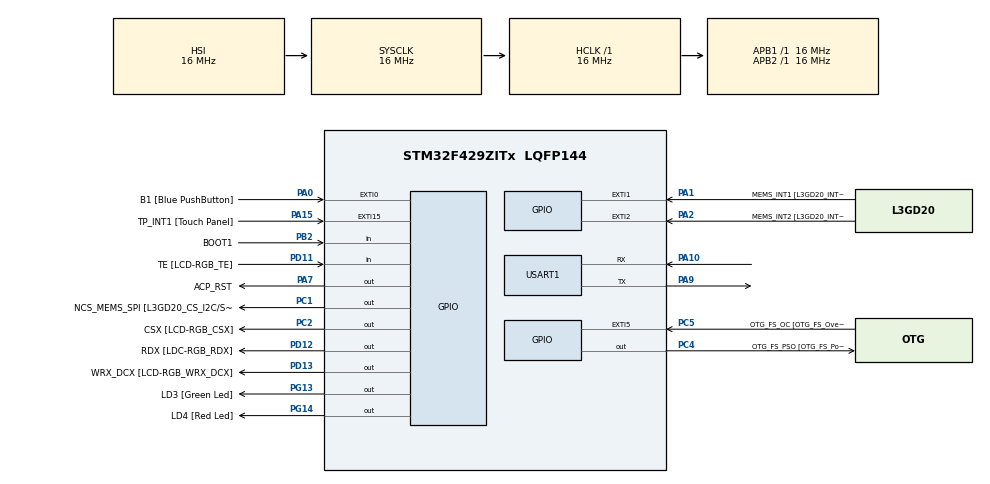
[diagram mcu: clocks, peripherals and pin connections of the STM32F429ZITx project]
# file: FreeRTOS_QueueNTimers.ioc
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Mcu.Family=STM32F4
Mcu.Name=STM32F429ZITx
Mcu.Package=LQFP144
NVIC.PriorityGroup=NVIC_PRIORITYGROUP_4
NVIC.TIM6_DAC_IRQn=true\:0\:0\:false\:false\:true\:false\:true\:true
NVIC.TimeBase=TIM6_DAC_IRQn
NVIC.TimeBaseIP=TIM6
NVIC.USART1_IRQn=true\:6\:0\:true\:false\:true\:true\:true\:true
PA0/WKUP.GPIO_Label=B1 [Blue PushButton]
PA0/WKUP.GPIO_ModeDefaultEXTI=GPIO_MODE_EVT_RISING
PA0/WKUP.GPIO_PuPd=GPIO_NOPULL
PA0/WKUP.Signal=GPXTI0
PA1.GPIO_Label=MEMS_INT1 [L3GD20_INT1]
PA1.GPIO_ModeDefaultEXTI=GPIO_MODE_EVT_RISING
PA1.GPIO_PuPd=GPIO_NOPULL
PA1.Signal=GPXTI1
PA10.Mode=Asynchronous
PA10.Signal=USART1_RX
PA11.GPIO_Label=R4
PA11.GPIO_Mode=GPIO_MODE_AF_PP
PA11.GPIO_PuPd=GPIO_NOPULL
PA11.GPIO_Speed=GPIO_SPEED_FREQ_LOW
PA11.Signal=LTDC_R4
PA12.GPIO_Label=R5
PA12.GPIO_Mode=GPIO_MODE_AF_PP
PA12.GPIO_PuPd=GPIO_NOPULL
PA12.GPIO_Speed=GPIO_SPEED_FREQ_LOW
PA12.Signal=LTDC_R5
PA13.GPIO_Label=SWDIO
PA13.Mode=Serial_Wire
PA13.Signal=SYS_JTMS-SWDIO
PA14.GPIO_Label=SWCLK
PA14.Mode=Serial_Wire
PA14.Signal=SYS_JTCK-SWCLK
PA15.GPIO_Label=TP_INT1 [Touch Panel]
PA15.GPIO_ModeDefaultEXTI=GPIO_MODE_EVT_RISING
PA15.GPIO_PuPd=GPIO_NOPULL
PA15.Signal=GPXTI15
PA2.GPIO_Label=MEMS_INT2 [L3GD20_INT2]
PA2.GPIO_ModeDefaultEXTI=GPIO_MODE_EVT_RISING
PA2.GPIO_PuPd=GPIO_NOPULL
PA2.Signal=GPXTI2
PA3.GPIO_Label=B5
PA3.GPIO_Mode=GPIO_MODE_AF_PP
PA3.GPIO_PuPd=GPIO_NOPULL
PA3.GPIO_Speed=GPIO_SPEED_FREQ_LOW
PA3.Signal=LTDC_B5
PA4.GPIO_Label=VSYNC
PA4.GPIO_Mode=GPIO_MODE_AF_PP
PA4.GPIO_PuPd=GPIO_NOPULL
PA4.GPIO_Speed=GPIO_SPEED_FREQ_LOW
PA4.Signal=LTDC_VSYNC
PA6.GPIO_Label=G2
PA6.GPIO_Mode=GPIO_MODE_AF_PP
PA6.GPIO_PuPd=GPIO_NOPULL
PA6.GPIO_Speed=GPIO_SPEED_FREQ_LOW
PA6.Signal=LTDC_G2
PA7.GPIO_Label=ACP_RST
PA7.GPIO_Mode=GPIO_MODE_OUTPUT_PP
PA7.GPIO_PuPd=GPIO_NOPULL
PA7.GPIO_Speed=GPIO_SPEED_FREQ_LOW
PA7.Signal=GPIO_Output
PA8.GPIO_Label=I2C3_SCL [ACP/RF_SCL]
PA8.GPIO_Mode=GPIO_MODE_AF_OD
PA8.GPIO_PuPd=GPIO_NOPULL
PA8.GPIO_Speed=GPIO_SPEED_FREQ_LOW
PA8.Signal=I2C3_SCL
PA9.Mode=Asynchronous
PA9.Signal=USART1_TX
PB0.GPIO_Label=R3
PB0.GPIO_Mode=GPIO_MODE_AF_PP
PB0.GPIO_PuPd=GPIO_NOPULL
PB0.GPIO_Speed=GPIO_SPEED_FREQ_LOW
PB0.Signal=LTDC_R3
PB1.GPIO_Label=R6
PB1.GPIO_Mode=GPIO_MODE_AF_PP
PB1.GPIO_PuPd=GPIO_NOPULL
PB1.GPIO_Speed=GPIO_SPEED_FREQ_LOW
PB1.Signal=LTDC_R6
PB10.GPIO_Label=G4
PB10.GPIO_Mode=GPIO_MODE_AF_PP
PB10.GPIO_PuPd=GPIO_NOPULL
PB10.GPIO_Speed=GPIO_SPEED_FREQ_LOW
PB10.Signal=LTDC_G4
PB11.GPIO_Label=G5
PB11.GPIO_Mode=GPIO_MODE_AF_PP
PB11.GPIO_PuPd=GPIO_NOPULL
PB11.GPIO_Speed=GPIO_SPEED_FREQ_LOW
PB11.Signal=LTDC_G5
PB12.GPIO_Label=OTG_HS_ID
PB12.GPIO_Mode=GPIO_MODE_AF_PP
PB12.GPIO_PuPd=GPIO_NOPULL
PB12.GPIO_Speed=GPIO_SPEED_FREQ_LOW
PB12.Signal=USB_OTG_HS_ID
PB13.GPIO_Label=VBUS_HS
PB13.GPIO_Mode=GPIO_MODE_INPUT
PB13.GPIO_PuPd=GPIO_NOPULL
PB13.Signal=USB_OTG_HS_VBUS
PB14.GPIO_Label=OTG_HS_DM
PB14.GPIO_Mode=GPIO_MODE_AF_PP
PB14.GPIO_PuPd=GPIO_NOPULL
PB14.GPIO_Speed=GPIO_SPEED_FREQ_LOW
PB14.Signal=USB_OTG_HS_DM
PB15.GPIO_Label=OTG_HS_DP
PB15.GPIO_Mode=GPIO_MODE_AF_PP
PB15.GPIO_PuPd=GPIO_NOPULL
PB15.GPIO_Speed=GPIO_SPEED_FREQ_LOW
PB15.Signal=USB_OTG_HS_DP
PB2/BOOT1.GPIO_Label=BOOT1
PB2/BOOT1.GPIO_Mode=GPIO_MODE_INPUT
PB2/BOOT1.GPIO_PuPd=GPIO_NOPULL
PB2/BOOT1.Signal=GPIO_Input
PB5.GPIO_Label=SDCKE1
PB5.GPIO_Mode=GPIO_MODE_AF_PP
PB5.GPIO_PuPd=GPIO_NOPULL
PB5.GPIO_Speed=GPIO_SPEED_FREQ_VERY_HIGH
PB5.Signal=FMC_SDCKE1
PB6.GPIO_Label=SDNE1 [SDRAM_CS]
PB6.GPIO_Mode=GPIO_MODE_AF_PP
PB6.GPIO_PuPd=GPIO_NOPULL
PB6.GPIO_Speed=GPIO_SPEED_FREQ_VERY_HIGH
PB6.Signal=FMC_SDNE1
PB8.GPIO_Label=B6
PB8.GPIO_Mode=GPIO_MODE_AF_PP
PB8.GPIO_PuPd=GPIO_NOPULL
PB8.GPIO_Speed=GPIO_SPEED_FREQ_LOW
PB8.Signal=LTDC_B6
PB9.GPIO_Label=B7
PB9.GPIO_Mode=GPIO_MODE_AF_PP
PB9.GPIO_PuPd=GPIO_NOPULL
PB9.GPIO_Speed=GPIO_SPEED_FREQ_LOW
PB9.Signal=LTDC_B7
PC0.GPIO_Label=SDNWE
PC0.GPIO_Mode=GPIO_MODE_AF_PP
PC0.GPIO_PuPd=GPIO_NOPULL
PC0.GPIO_Speed=GPIO_SPEED_FREQ_VERY_HIGH
PC0.Signal=FMC_SDNWE
PC1.GPIO_Label=NCS_MEMS_SPI [L3GD20_CS_I2C/SPI]
PC1.GPIO_Mode=GPIO_MODE_OUTPUT_PP
PC1.GPIO_PuPd=GPIO_NOPULL
PC1.GPIO_Speed=GPIO_SPEED_FREQ_LOW
PC1.Signal=GPIO_Output
PC10.GPIO_Label=R2
PC10.GPIO_Mode=GPIO_MODE_AF_PP
PC10.GPIO_PuPd=GPIO_NOPULL
PC10.GPIO_Speed=GPIO_SPEED_FREQ_LOW
PC10.Signal=LTDC_R2
PC14/OSC32_IN.GPIO_Label=PC14-OSC32_IN
PC14/OSC32_IN.Signal=RCC_OSC32_IN
PC15/OSC32_OUT.GPIO_Label=PC15-OSC32_OUT
PC15/OSC32_OUT.Signal=RCC_OSC32_OUT
PC2.GPIO_Label=CSX [LCD-RGB_CSX]
PC2.GPIO_Mode=GPIO_MODE_OUTPUT_PP
PC2.GPIO_PuPd=GPIO_NOPULL
PC2.GPIO_Speed=GPIO_SPEED_FREQ_LOW
PC2.Signal=GPIO_Output
PC4.GPIO_Label=OTG_FS_PSO [OTG_FS_PowerSwitchOn]
PC4.GPIO_Mode=GPIO_MODE_OUTPUT_PP
PC4.GPIO_PuPd=GPIO_NOPULL
PC4.GPIO_Speed=GPIO_SPEED_FREQ_LOW
PC4.Signal=GPIO_Output
PC5.GPIO_Label=OTG_FS_OC [OTG_FS_OverCurrent]
PC5.GPIO_ModeDefaultEXTI=GPIO_MODE_EVT_RISING
PC5.Signal=GPXTI5
PC6.GPIO_Label=HSYNC
PC6.GPIO_Mode=GPIO_MODE_AF_PP
PC6.GPIO_PuPd=GPIO_NOPULL
PC6.GPIO_Speed=GPIO_SPEED_FREQ_LOW
PC6.Signal=LTDC_HSYNC
PC7.GPIO_Label=G6
PC7.GPIO_Mode=GPIO_MODE_AF_PP
PC7.GPIO_PuPd=GPIO_NOPULL
PC7.GPIO_Speed=GPIO_SPEED_FREQ_LOW
PC7.Signal=LTDC_G6
PC9.GPIO_Label=I2C3_SDA [ACP/RF_SDA]
PC9.GPIO_Mode=GPIO_MODE_AF_OD
PC9.GPIO_PuPd=GPIO_NOPULL
PC9.GPIO_Speed=GPIO_SPEED_FREQ_LOW
PC9.Signal=I2C3_SDA
PD0.GPIO_Label=D2
PD0.GPIO_Mode=GPIO_MODE_AF_PP
PD0.GPIO_PuPd=GPIO_NOPULL
PD0.GPIO_Speed=GPIO_SPEED_FREQ_VERY_HIGH
PD0.Signal=FMC_D2_DA2
PD1.GPIO_Label=D3
PD1.GPIO_Mode=GPIO_MODE_AF_PP
PD1.GPIO_PuPd=GPIO_NOPULL
PD1.GPIO_Speed=GPIO_SPEED_FREQ_VERY_HIGH
PD1.Signal=FMC_D3_DA3
PD10.GPIO_Label=D15
PD10.GPIO_Mode=GPIO_MODE_AF_PP
PD10.GPIO_PuPd=GPIO_NOPULL
PD10.GPIO_Speed=GPIO_SPEED_FREQ_VERY_HIGH
PD10.Signal=FMC_D15_DA15
PD11.GPIO_Label=TE [LCD-RGB_TE]
PD11.GPIO_Mode=GPIO_MODE_INPUT
PD11.GPIO_PuPd=GPIO_NOPULL
PD11.Signal=GPIO_Input
PD12.GPIO_Label=RDX [LDC-RGB_RDX]
PD12.GPIO_Mode=GPIO_MODE_OUTPUT_PP
PD12.GPIO_PuPd=GPIO_NOPULL
PD12.GPIO_Speed=GPIO_SPEED_FREQ_LOW
PD12.Signal=GPIO_Output
PD13.GPIO_Label=WRX_DCX [LCD-RGB_WRX_DCX]
PD13.GPIO_Mode=GPIO_MODE_OUTPUT_PP
PD13.GPIO_PuPd=GPIO_NOPULL
PD13.GPIO_Speed=GPIO_SPEED_FREQ_LOW
PD13.Signal=GPIO_Output
PD14.GPIO_Label=D0
PD14.GPIO_Mode=GPIO_MODE_AF_PP
PD14.GPIO_PuPd=GPIO_NOPULL
PD14.GPIO_Speed=GPIO_SPEED_FREQ_VERY_HIGH
PD14.Signal=FMC_D0_DA0
PD15.GPIO_Label=D1
PD15.GPIO_Mode=GPIO_MODE_AF_PP
PD15.GPIO_PuPd=GPIO_NOPULL
PD15.GPIO_Speed=GPIO_SPEED_FREQ_VERY_HIGH
PD15.Signal=FMC_D1_DA1
PD3.GPIO_Label=G7
PD3.GPIO_Mode=GPIO_MODE_AF_PP
PD3.GPIO_PuPd=GPIO_NOPULL
PD3.GPIO_Speed=GPIO_SPEED_FREQ_LOW
PD3.Signal=LTDC_G7
PD6.GPIO_Label=B2
PD6.GPIO_Mode=GPIO_MODE_AF_PP
PD6.GPIO_PuPd=GPIO_NOPULL
PD6.GPIO_Speed=GPIO_SPEED_FREQ_LOW
PD6.Signal=LTDC_B2
PD8.GPIO_Label=D13
PD8.GPIO_Mode=GPIO_MODE_AF_PP
PD8.GPIO_PuPd=GPIO_NOPULL
PD8.GPIO_Speed=GPIO_SPEED_FREQ_VERY_HIGH
PD8.Signal=FMC_D13_DA13
PD9.GPIO_Label=D14
PD9.GPIO_Mode=GPIO_MODE_AF_PP
PD9.GPIO_PuPd=GPIO_NOPULL
PD9.GPIO_Speed=GPIO_SPEED_FREQ_VERY_HIGH
PD9.Signal=FMC_D14_DA14
PE0.GPIO_Label=NBL0 [SDRAM_LDQM]
PE0.GPIO_Mode=GPIO_MODE_AF_PP
PE0.GPIO_PuPd=GPIO_NOPULL
PE0.GPIO_Speed=GPIO_SPEED_FREQ_VERY_HIGH
PE0.Signal=FMC_NBL0
PE1.GPIO_Label=NBL1 [SDRAM_UDQM]
PE1.GPIO_Mode=GPIO_MODE_AF_PP
PE1.GPIO_PuPd=GPIO_NOPULL
PE1.GPIO_Speed=GPIO_SPEED_FREQ_VERY_HIGH
PE1.Signal=FMC_NBL1
PE10.GPIO_Label=D7
PE10.GPIO_Mode=GPIO_MODE_AF_PP
PE10.GPIO_PuPd=GPIO_NOPULL
PE10.GPIO_Speed=GPIO_SPEED_FREQ_VERY_HIGH
PE10.Signal=FMC_D7_DA7
PE11.GPIO_Label=D8
PE11.GPIO_Mode=GPIO_MODE_AF_PP
PE11.GPIO_PuPd=GPIO_NOPULL
PE11.GPIO_Speed=GPIO_SPEED_FREQ_VERY_HIGH
PE11.Signal=FMC_D8_DA8
PE12.GPIO_Label=D9
PE12.GPIO_Mode=GPIO_MODE_AF_PP
PE12.GPIO_PuPd=GPIO_NOPULL
PE12.GPIO_Speed=GPIO_SPEED_FREQ_VERY_HIGH
PE12.Signal=FMC_D9_DA9
PE13.GPIO_Label=D10
PE13.GPIO_Mode=GPIO_MODE_AF_PP
PE13.GPIO_PuPd=GPIO_NOPULL
PE13.GPIO_Speed=GPIO_SPEED_FREQ_VERY_HIGH
PE13.Signal=FMC_D10_DA10
PE14.GPIO_Label=D11
PE14.GPIO_Mode=GPIO_MODE_AF_PP
PE14.GPIO_PuPd=GPIO_NOPULL
PE14.GPIO_Speed=GPIO_SPEED_FREQ_VERY_HIGH
PE14.Signal=FMC_D11_DA11
PE15.GPIO_Label=D12
PE15.GPIO_Mode=GPIO_MODE_AF_PP
PE15.GPIO_PuPd=GPIO_NOPULL
PE15.GPIO_Speed=GPIO_SPEED_FREQ_VERY_HIGH
PE15.Signal=FMC_D12_DA12
PE7.GPIO_Label=D4
PE7.GPIO_Mode=GPIO_MODE_AF_PP
PE7.GPIO_PuPd=GPIO_NOPULL
PE7.GPIO_Speed=GPIO_SPEED_FREQ_VERY_HIGH
PE7.Signal=FMC_D4_DA4
PE8.GPIO_Label=D5
PE8.GPIO_Mode=GPIO_MODE_AF_PP
PE8.GPIO_PuPd=GPIO_NOPULL
PE8.GPIO_Speed=GPIO_SPEED_FREQ_VERY_HIGH
PE8.Signal=FMC_D5_DA5
PE9.GPIO_Label=D6
PE9.GPIO_Mode=GPIO_MODE_AF_PP
PE9.GPIO_PuPd=GPIO_NOPULL
PE9.GPIO_Speed=GPIO_SPEED_FREQ_VERY_HIGH
PE9.Signal=FMC_D6_DA6
PF0.GPIO_Label=A0
PF0.GPIO_Mode=GPIO_MODE_AF_PP
PF0.GPIO_PuPd=GPIO_NOPULL
PF0.GPIO_Speed=GPIO_SPEED_FREQ_VERY_HIGH
PF0.Signal=FMC_A0
PF1.GPIO_Label=A1
PF1.GPIO_Mode=GPIO_MODE_AF_PP
PF1.GPIO_PuPd=GPIO_NOPULL
PF1.GPIO_Speed=GPIO_SPEED_FREQ_VERY_HIGH
PF1.Signal=FMC_A1
PF10.GPIO_Label=ENABLE [LCD-RGB_ENABLE]
PF10.GPIO_Mode=GPIO_MODE_AF_PP
PF10.GPIO_PuPd=GPIO_NOPULL
PF10.GPIO_Speed=GPIO_SPEED_FREQ_LOW
PF10.Signal=LTDC_DE
PF11.GPIO_Label=SDNRAS
PF11.GPIO_Mode=GPIO_MODE_AF_PP
PF11.GPIO_PuPd=GPIO_NOPULL
PF11.GPIO_Speed=GPIO_SPEED_FREQ_VERY_HIGH
PF11.Signal=FMC_SDNRAS
PF12.GPIO_Label=A6
PF12.GPIO_Mode=GPIO_MODE_AF_PP
PF12.GPIO_PuPd=GPIO_NOPULL
PF12.GPIO_Speed=GPIO_SPEED_FREQ_VERY_HIGH
PF12.Signal=FMC_A6
PF13.GPIO_Label=A7
PF13.GPIO_Mode=GPIO_MODE_AF_PP
PF13.GPIO_PuPd=GPIO_NOPULL
PF13.GPIO_Speed=GPIO_SPEED_FREQ_VERY_HIGH
PF13.Signal=FMC_A7
PF14.GPIO_Label=A8
PF14.GPIO_Mode=GPIO_MODE_AF_PP
PF14.GPIO_PuPd=GPIO_NOPULL
PF14.GPIO_Speed=GPIO_SPEED_FREQ_VERY_HIGH
PF14.Signal=FMC_A8
PF15.GPIO_Label=A9
PF15.GPIO_Mode=GPIO_MODE_AF_PP
PF15.GPIO_PuPd=GPIO_NOPULL
PF15.GPIO_Speed=GPIO_SPEED_FREQ_VERY_HIGH
PF15.Signal=FMC_A9
PF2.GPIO_Label=A2
PF2.GPIO_Mode=GPIO_MODE_AF_PP
PF2.GPIO_PuPd=GPIO_NOPULL
PF2.GPIO_Speed=GPIO_SPEED_FREQ_VERY_HIGH
PF2.Signal=FMC_A2
PF3.GPIO_Label=A3
PF3.GPIO_Mode=GPIO_MODE_AF_PP
PF3.GPIO_PuPd=GPIO_NOPULL
PF3.GPIO_Speed=GPIO_SPEED_FREQ_VERY_HIGH
PF3.Signal=FMC_A3
PF4.GPIO_Label=A4
PF4.GPIO_Mode=GPIO_MODE_AF_PP
PF4.GPIO_PuPd=GPIO_NOPULL
PF4.GPIO_Speed=GPIO_SPEED_FREQ_VERY_HIGH
PF4.Signal=FMC_A4
PF5.GPIO_Label=A5
PF5.GPIO_Mode=GPIO_MODE_AF_PP
PF5.GPIO_PuPd=GPIO_NOPULL
PF5.GPIO_Speed=GPIO_SPEED_FREQ_VERY_HIGH
PF5.Signal=FMC_A5
PF7.GPIO_Label=SPI5_SCK [L3GD20_SCL/SPC]
PF7.GPIO_Mode=GPIO_MODE_AF_PP
PF7.GPIO_PuPd=GPIO_NOPULL
PF7.GPIO_Speed=GPIO_SPEED_FREQ_LOW
PF7.Signal=SPI5_SCK
PF8.GPIO_Label=SPI5_MISO [L3GD20_SDO]
PF8.GPIO_Mode=GPIO_MODE_AF_PP
PF8.GPIO_PuPd=GPIO_NOPULL
PF8.GPIO_Speed=GPIO_SPEED_FREQ_LOW
PF8.Signal=SPI5_MISO
PF9.GPIO_Label=SPI5_MOSI [L3GD20_SDA/SDI/SDO]
PF9.GPIO_Mode=GPIO_MODE_AF_PP
PF9.GPIO_PuPd=GPIO_NOPULL
PF9.GPIO_Speed=GPIO_SPEED_FREQ_LOW
PF9.Signal=SPI5_MOSI
PG0.GPIO_Label=A10
PG0.GPIO_Mode=GPIO_MODE_AF_PP
PG0.GPIO_PuPd=GPIO_NOPULL
PG0.GPIO_Speed=GPIO_SPEED_FREQ_VERY_HIGH
PG0.Signal=FMC_A10
PG1.GPIO_Label=A11
PG1.GPIO_Mode=GPIO_MODE_AF_PP
PG1.GPIO_PuPd=GPIO_NOPULL
PG1.GPIO_Speed=GPIO_SPEED_FREQ_VERY_HIGH
PG1.Signal=FMC_A11
PG10.GPIO_Label=G3
PG10.GPIO_Mode=GPIO_MODE_AF_PP
PG10.GPIO_PuPd=GPIO_NOPULL
PG10.GPIO_Speed=GPIO_SPEED_FREQ_LOW
PG10.Signal=LTDC_G3
PG11.GPIO_Label=B3
PG11.GPIO_Mode=GPIO_MODE_AF_PP
PG11.GPIO_PuPd=GPIO_NOPULL
PG11.GPIO_Speed=GPIO_SPEED_FREQ_LOW
PG11.Signal=LTDC_B3
PG12.GPIO_Label=B4
PG12.GPIO_Mode=GPIO_MODE_AF_PP
PG12.GPIO_PuPd=GPIO_NOPULL
PG12.GPIO_Speed=GPIO_SPEED_FREQ_LOW
PG12.Signal=LTDC_B4
PG13.GPIO_Label=LD3 [Green Led]
PG13.GPIO_Mode=GPIO_MODE_OUTPUT_PP
PG13.GPIO_PuPd=GPIO_NOPULL
PG13.GPIO_Speed=GPIO_SPEED_FREQ_LOW
PG13.Signal=GPIO_Output
PG14.GPIO_Label=LD4 [Red Led]
PG14.GPIO_Mode=GPIO_MODE_OUTPUT_PP
PG14.GPIO_PuPd=GPIO_NOPULL
PG14.GPIO_Speed=GPIO_SPEED_FREQ_LOW
PG14.Signal=GPIO_Output
PG15.GPIO_Label=SDNCAS
PG15.GPIO_Mode=GPIO_MODE_AF_PP
PG15.GPIO_PuPd=GPIO_NOPULL
PG15.GPIO_Speed=GPIO_SPEED_FREQ_VERY_HIGH
PG15.Signal=FMC_SDNCAS
PG4.GPIO_Label=BA0
PG4.GPIO_Mode=GPIO_MODE_AF_PP
PG4.GPIO_PuPd=GPIO_NOPULL
PG4.GPIO_Speed=GPIO_SPEED_FREQ_VERY_HIGH
PG4.Signal=FMC_A14_BA0
PG5.GPIO_Label=BA1
PG5.GPIO_Mode=GPIO_MODE_AF_PP
PG5.GPIO_PuPd=GPIO_NOPULL
PG5.GPIO_Speed=GPIO_SPEED_FREQ_VERY_HIGH
PG5.Signal=FMC_A15_BA1
PG6.GPIO_Label=R7
PG6.GPIO_Mode=GPIO_MODE_AF_PP
PG6.GPIO_PuPd=GPIO_NOPULL
PG6.GPIO_Speed=GPIO_SPEED_FREQ_LOW
PG6.Signal=LTDC_R7
PG7.GPIO_Label=DOTCLK [LCT-RGB_DOTCLK]
PG7.GPIO_Mode=GPIO_MODE_AF_PP
PG7.GPIO_PuPd=GPIO_NOPULL
PG7.GPIO_Speed=GPIO_SPEED_FREQ_LOW
PG7.Signal=LTDC_CLK
PG8.GPIO_Label=SDCLK
PG8.GPIO_Mode=GPIO_MODE_AF_PP
PG8.GPIO_PuPd=GPIO_NOPULL
PG8.GPIO_Speed=GPIO_SPEED_FREQ_VERY_HIGH
PG8.Signal=FMC_SDCLK
PH0/OSC_IN.GPIO_Label=PH0-OSC_IN
PH0/OSC_IN.Signal=RCC_OSC_IN
PH1/OSC_OUT.GPIO_Label=PH1-OSC_OUT
PH1/OSC_OUT.Signal=RCC_OSC_OUT
ProjectManager.HeapSize=0x200
ProjectManager.StackSize=0x400
ProjectManager.TargetToolchain=STM32CubeIDE
RCC.48MHZClocksFreq_Value=14285714.285714285
RCC.AHBFreq_Value=16000000
RCC.APB1Freq_Value=16000000
RCC.APB1TimFreq_Value=16000000
RCC.APB2Freq_Value=16000000
RCC.APB2TimFreq_Value=16000000
RCC.CortexFreq_Value=16000000
RCC.HCLKFreq_Value=16000000
RCC.HSE_VALUE=8000000
RCC.HSI_VALUE=16000000
RCC.LSE_VALUE=32768
RCC.PLLM=8
RCC.PLLN=50
RCC.PLLP=RCC_PLLP_DIV4
RCC.PLLQ=7
RCC.SYSCLKFreq_VALUE=16000000
RCC.VCOOutputFreq_Value=100000000
RTC.HourFormat=RTC_HOURFORMAT_12
SH.FMC_A0.0=FMC_A0
SH.FMC_A1.0=FMC_A1
SH.FMC_A10.0=FMC_A10
SH.FMC_A11.0=FMC_A11
SH.FMC_A14_BA0.0=FMC_BA0
SH.FMC_A15_BA1.0=FMC_BA1
SH.FMC_A2.0=FMC_A2
SH.FMC_A3.0=FMC_A3
SH.FMC_A4.0=FMC_A4
SH.FMC_A5.0=FMC_A5
SH.FMC_A6.0=FMC_A6
SH.FMC_A7.0=FMC_A7
SH.FMC_A8.0=FMC_A8
SH.FMC_A9.0=FMC_A9
SH.FMC_D0_DA0.0=FMC_D0
SH.FMC_D10_DA10.0=FMC_D10
SH.FMC_D11_DA11.0=FMC_D11
SH.FMC_D12_DA12.0=FMC_D12
SH.FMC_D13_DA13.0=FMC_D13
SH.FMC_D14_DA14.0=FMC_D14
SH.FMC_D15_DA15.0=FMC_D15
SH.FMC_D1_DA1.0=FMC_D1
SH.FMC_D2_DA2.0=FMC_D2
SH.FMC_D3_DA3.0=FMC_D3
SH.FMC_D4_DA4.0=FMC_D4
SH.FMC_D5_DA5.0=FMC_D5
SH.FMC_D6_DA6.0=FMC_D6
SH.FMC_D7_DA7.0=FMC_D7
SH.FMC_D8_DA8.0=FMC_D8
SH.FMC_D9_DA9.0=FMC_D9
SH.FMC_NBL0.0=FMC_NBL0
SH.FMC_NBL1.0=FMC_NBL1
SH.FMC_SDCLK.0=FMC_SDCLK
SH.FMC_SDNCAS.0=FMC_SDNCAS
SH.FMC_SDNRAS.0=FMC_SDNRAS
SH.FMC_SDNWE.0=FMC_SDNWE
USART1.VirtualMode=VM_ASYNC
VP_RTC_VS_RTC_Activate.Mode=RTC_Enabled
VP_SYS_VS_tim6.Mode=TIM6
board=STM32F429I-DISC1

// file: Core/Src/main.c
/* USER CODE BEGIN Header */
/**
  ******************************************************************************
  * @file           : main.c
  * @brief          : Main program body
  ******************************************************************************
  * @attention
  *
  * Copyright (c) 2022 STMicroelectronics.
  * All rights reserved.
  *
  * This software is licensed under terms that can be found in the LICENSE file
  * in the root directory of this software component.
  * If no LICENSE file comes with this software, it is provided AS-IS.
  *
  ******************************************************************************
  */
/* USER CODE END Header */
#include "main.h"

/* USER CODE BEGIN Includes */
#include "FreeRTOS.h"
#include "task.h"
#include "queue.h"
#include "timers.h"
#include <stdio.h>
#include <string.h>
#include "SEGGER_SYSVIEW.h"
/* USER CODE END Includes */

/* USER CODE BEGIN PTD */

/* Application States */
typedef enum _Application_States_e
{
  MAIN_MENU = 0,
  LED_EFFECT,
  RTC_MENU,
  RTC_TIME_CONFIG,
  RTC_DATE_CONFIG,
  RTC_REPORT
} Application_States_e;

typedef struct _Command_s
{
  uint8_t payload[8];
  uint8_t len;
} Command_s;

/* USER CODE END PTD */

/* USER CODE BEGIN PM */
#define DWT_CTRL            (*(volatile uint32_t*)0xE0001000u)
/* USER CODE END PM */

 RTC_HandleTypeDef hrtc;

UART_HandleTypeDef huart1;

void SystemClock_Config(void);
static void MX_GPIO_Init(void);
static void MX_RTC_Init(void);
static void MX_USART1_UART_Init(void);
/* USER CODE BEGIN PFP */
static void Command_Processor( Command_s *s_cmd );
static int8_t Command_Extractor( Command_s *s_cmd );
static void Led_Effect( uint8_t option );
static void Led_Effect_Callback( TimerHandle_t xTimer );
static void RTC_ReportCallback( TimerHandle_t xRTC );
static void Led_Effect1( void );
static void Led_Effect2( void );
static void Led_Effect3( void );
static void RTC_ConfigureTime( RTC_TimeTypeDef *time );
static void RTC_ConfigureDate( RTC_DateTypeDef *date );
static void RTC_ShowDateTime( void );
static uint8_t Validate_RTC_Information( RTC_TimeTypeDef *time, RTC_DateTypeDef *date );
static uint8_t Convert_To_Number( uint8_t *data, uint8_t len );
/* USER CODE END PFP */

/* USER CODE BEGIN 0 */
TaskHandle_t menu_task_handle;
TaskHandle_t command_task_handle;
TaskHandle_t print_task_handle;
TaskHandle_t led_task_handle;
TaskHandle_t rtc_task_handle;

/* We need two queues one for inputs from UART and another for printing */
QueueHandle_t q_data;
QueueHandle_t q_print;

uint8_t uart_data;

Application_States_e e_state = MAIN_MENU;
/* Software Timer for Led Effects */
TimerHandle_t led_effect_timer[3];
/* Software Timer for RTC Reporting */
TimerHandle_t rtc_timer;
const char * msg_invalid = "Entered Value is Invalid\n";
/* USER CODE END 0 */

int main(void)
{
  /* USER CODE BEGIN 1 */
  BaseType_t status;
  /* USER CODE END 1 */

  /* MCU Configuration--------------------------------------------------------*/

  /* Reset of all peripherals, Initializes the Flash interface and the Systick. */
  HAL_Init();

  /* Configure the system clock */
  SystemClock_Config();

  /* Initialize all configured peripherals */
  MX_GPIO_Init();
  MX_RTC_Init();
  MX_USART1_UART_Init();
  /* USER CODE BEGIN 2 */

  /* Enable the Cycle Counter i.e. CYCCNT */
  DWT_CTRL |= (0x01 << 0);

  /* SystemView should be configured and start before using any FreeRTOS API's */
  SEGGER_SYSVIEW_Conf();
  SEGGER_SYSVIEW_Start();

  status = xTaskCreate(Menu_TaskHandler, "Menu Task", 200, NULL, 2, &menu_task_handle);
  configASSERT(status == pdPASS);

  status = xTaskCreate(Command_TaskHandler, "CMD Task", 200, NULL, 2, &command_task_handle );
  configASSERT(status == pdPASS);

  status = xTaskCreate(Print_TaskHandler, "Print Task", 200, NULL, 2, &print_task_handle );
  configASSERT(status == pdPASS);

  status = xTaskCreate(LED_TaskHandler, "LED Task", 200, NULL, 2, &led_task_handle );
  configASSERT(status == pdPASS);

  status = xTaskCreate(RTC_TaskHandler, "RTC Task", 200, NULL, 2, &rtc_task_handle );
  configASSERT(status == pdPASS);

  /* Create Queues */
  q_data = xQueueCreate( 10, sizeof(char) );
  configASSERT(q_data != NULL);
  q_print = xQueueCreate(10, sizeof(size_t) );

  /* Configure the UART to receive 1 byte of over interrupt */
  HAL_UART_Receive_IT(&huart1, &uart_data, 1);

  /* Create Software Timers for Led Effects */
  for( uint8_t i=0; i<3; i++ )
  {
    led_effect_timer[i] = xTimerCreate( "led_timer", pdMS_TO_TICKS(500), pdTRUE,\
                                        (void*)(i+1), Led_Effect_Callback );
  }

  /* Create Software Timer for RTC reporting */
  rtc_timer = xTimerCreate( "RTC Timer", pdMS_TO_TICKS(1000), pdTRUE, NULL, \
                            RTC_ReportCallback );

  /* Start the Scheduler */
  vTaskStartScheduler();
  /* control shouldn't come here, if it is coming then there is some problem */
  /* this failure can happen due to insufficient memory in heap */
  /* USER CODE END 2 */

  /* Infinite loop */
  while (1)
  {

  }
}

void SystemClock_Config(void)
{
  RCC_OscInitTypeDef RCC_OscInitStruct = {0};
  RCC_ClkInitTypeDef RCC_ClkInitStruct = {0};

  /** Configure the main internal regulator output voltage
  */
  __HAL_RCC_PWR_CLK_ENABLE();
  __HAL_PWR_VOLTAGESCALING_CONFIG(PWR_REGULATOR_VOLTAGE_SCALE3);

  /** Initializes the RCC Oscillators according to the specified parameters
  * in the RCC_OscInitTypeDef structure.
  */
  RCC_OscInitStruct.OscillatorType = RCC_OSCILLATORTYPE_HSI|RCC_OSCILLATORTYPE_LSI;
  RCC_OscInitStruct.HSIState = RCC_HSI_ON;
  RCC_OscInitStruct.HSICalibrationValue = RCC_HSICALIBRATION_DEFAULT;
  RCC_OscInitStruct.LSIState = RCC_LSI_ON;
  RCC_OscInitStruct.PLL.PLLState = RCC_PLL_NONE;
  if (HAL_RCC_OscConfig(&RCC_OscInitStruct) != HAL_OK)
  {
    Error_Handler();
  }

  /** Initializes the CPU, AHB and APB buses clocks
  */
  RCC_ClkInitStruct.ClockType = RCC_CLOCKTYPE_HCLK|RCC_CLOCKTYPE_SYSCLK
                              |RCC_CLOCKTYPE_PCLK1|RCC_CLOCKTYPE_PCLK2;
  RCC_ClkInitStruct.SYSCLKSource = RCC_SYSCLKSOURCE_HSI;
  RCC_ClkInitStruct.AHBCLKDivider = RCC_SYSCLK_DIV1;
  RCC_ClkInitStruct.APB1CLKDivider = RCC_HCLK_DIV1;
  RCC_ClkInitStruct.APB2CLKDivider = RCC_HCLK_DIV1;

  if (HAL_RCC_ClockConfig(&RCC_ClkInitStruct, FLASH_LATENCY_0) != HAL_OK)
  {
    Error_Handler();
  }
}

static void MX_RTC_Init(void)
{

  /** Initialize RTC Only
  */
  hrtc.Instance = RTC;
  hrtc.Init.HourFormat = RTC_HOURFORMAT_12;
  hrtc.Init.AsynchPrediv = 127;
  hrtc.Init.SynchPrediv = 255;
  hrtc.Init.OutPut = RTC_OUTPUT_DISABLE;
  hrtc.Init.OutPutPolarity = RTC_OUTPUT_POLARITY_HIGH;
  hrtc.Init.OutPutType = RTC_OUTPUT_TYPE_OPENDRAIN;
  if (HAL_RTC_Init(&hrtc) != HAL_OK)
  {
    Error_Handler();
  }

}

static void MX_USART1_UART_Init(void)
{

  huart1.Instance = USART1;
  huart1.Init.BaudRate = 115200;
  huart1.Init.WordLength = UART_WORDLENGTH_8B;
  huart1.Init.StopBits = UART_STOPBITS_1;
  huart1.Init.Parity = UART_PARITY_NONE;
  huart1.Init.Mode = UART_MODE_TX_RX;
  huart1.Init.HwFlowCtl = UART_HWCONTROL_NONE;
  huart1.Init.OverSampling = UART_OVERSAMPLING_16;
  if (HAL_UART_Init(&huart1) != HAL_OK)
  {
    Error_Handler();
  }

}

static void MX_GPIO_Init(void)
{
  GPIO_InitTypeDef GPIO_InitStruct = {0};

  /* GPIO Ports Clock Enable */
  __HAL_RCC_GPIOC_CLK_ENABLE();
  __HAL_RCC_GPIOF_CLK_ENABLE();
  __HAL_RCC_GPIOH_CLK_ENABLE();
  __HAL_RCC_GPIOA_CLK_ENABLE();
  __HAL_RCC_GPIOB_CLK_ENABLE();
  __HAL_RCC_GPIOG_CLK_ENABLE();
  __HAL_RCC_GPIOE_CLK_ENABLE();
  __HAL_RCC_GPIOD_CLK_ENABLE();

  /*Configure GPIO pin Output Level */
  HAL_GPIO_WritePin(GPIOC, NCS_MEMS_SPI_Pin|CSX_Pin|OTG_FS_PSO_Pin, GPIO_PIN_RESET);

  /*Configure GPIO pin Output Level */
  HAL_GPIO_WritePin(ACP_RST_GPIO_Port, ACP_RST_Pin, GPIO_PIN_RESET);

  /*Configure GPIO pin Output Level */
  HAL_GPIO_WritePin(GPIOD, RDX_Pin|WRX_DCX_Pin, GPIO_PIN_RESET);

  /*Configure GPIO pin Output Level */
  HAL_GPIO_WritePin(GPIOG, LD3_Pin|LD4_Pin, GPIO_PIN_RESET);

  /*Configure GPIO pins : A0_Pin A1_Pin A2_Pin A3_Pin
                           A4_Pin A5_Pin SDNRAS_Pin A6_Pin
                           A7_Pin A8_Pin A9_Pin */
  GPIO_InitStruct.Pin = A0_Pin|A1_Pin|A2_Pin|A3_Pin
                          |A4_Pin|A5_Pin|SDNRAS_Pin|A6_Pin
                          |A7_Pin|A8_Pin|A9_Pin;
  GPIO_InitStruct.Mode = GPIO_MODE_AF_PP;
  GPIO_InitStruct.Pull = GPIO_NOPULL;
  GPIO_InitStruct.Speed = GPIO_SPEED_FREQ_VERY_HIGH;
  GPIO_InitStruct.Alternate = GPIO_AF12_FMC;
  HAL_GPIO_Init(GPIOF, &GPIO_InitStruct);

  /*Configure GPIO pins : SPI5_SCK_Pin SPI5_MISO_Pin SPI5_MOSI_Pin */
  GPIO_InitStruct.Pin = SPI5_SCK_Pin|SPI5_MISO_Pin|SPI5_MOSI_Pin;
  GPIO_InitStruct.Mode = GPIO_MODE_AF_PP;
  GPIO_InitStruct.Pull = GPIO_NOPULL;
  GPIO_InitStruct.Speed = GPIO_SPEED_FREQ_LOW;
  GPIO_InitStruct.Alternate = GPIO_AF5_SPI5;
  HAL_GPIO_Init(GPIOF, &GPIO_InitStruct);

  /*Configure GPIO pin : ENABLE_Pin */
  GPIO_InitStruct.Pin = ENABLE_Pin;
  GPIO_InitStruct.Mode = GPIO_MODE_AF_PP;
  GPIO_InitStruct.Pull = GPIO_NOPULL;
  GPIO_InitStruct.Speed = GPIO_SPEED_FREQ_LOW;
  GPIO_InitStruct.Alternate = GPIO_AF14_LTDC;
  HAL_GPIO_Init(ENABLE_GPIO_Port, &GPIO_InitStruct);

  /*Configure GPIO pin : SDNWE_Pin */
  GPIO_InitStruct.Pin = SDNWE_Pin;
  GPIO_InitStruct.Mode = GPIO_MODE_AF_PP;
  GPIO_InitStruct.Pull = GPIO_NOPULL;
  GPIO_InitStruct.Speed = GPIO_SPEED_FREQ_VERY_HIGH;
  GPIO_InitStruct.Alternate = GPIO_AF12_FMC;
  HAL_GPIO_Init(SDNWE_GPIO_Port, &GPIO_InitStruct);

  /*Configure GPIO pins : NCS_MEMS_SPI_Pin CSX_Pin OTG_FS_PSO_Pin */
  GPIO_InitStruct.Pin = NCS_MEMS_SPI_Pin|CSX_Pin|OTG_FS_PSO_Pin;
  GPIO_InitStruct.Mode = GPIO_MODE_OUTPUT_PP;
  GPIO_InitStruct.Pull = GPIO_NOPULL;
  GPIO_InitStruct.Speed = GPIO_SPEED_FREQ_LOW;
  HAL_GPIO_Init(GPIOC, &GPIO_InitStruct);

  /*Configure GPIO pins : B1_Pin MEMS_INT1_Pin MEMS_INT2_Pin TP_INT1_Pin */
  GPIO_InitStruct.Pin = B1_Pin|MEMS_INT1_Pin|MEMS_INT2_Pin|TP_INT1_Pin;
  GPIO_InitStruct.Mode = GPIO_MODE_EVT_RISING;
  GPIO_InitStruct.Pull = GPIO_NOPULL;
  HAL_GPIO_Init(GPIOA, &GPIO_InitStruct);

  /*Configure GPIO pins : B5_Pin VSYNC_Pin G2_Pin R4_Pin
                           R5_Pin */
  GPIO_InitStruct.Pin = B5_Pin|VSYNC_Pin|G2_Pin|R4_Pin
                          |R5_Pin;
  GPIO_InitStruct.Mode = GPIO_MODE_AF_PP;
  GPIO_InitStruct.Pull = GPIO_NOPULL;
  GPIO_InitStruct.Speed = GPIO_SPEED_FREQ_LOW;
  GPIO_InitStruct.Alternate = GPIO_AF14_LTDC;
  HAL_GPIO_Init(GPIOA, &GPIO_InitStruct);

  /*Configure GPIO pin : ACP_RST_Pin */
  GPIO_InitStruct.Pin = ACP_RST_Pin;
  GPIO_InitStruct.Mode = GPIO_MODE_OUTPUT_PP;
  GPIO_InitStruct.Pull = GPIO_NOPULL;
  GPIO_InitStruct.Speed = GPIO_SPEED_FREQ_LOW;
  HAL_GPIO_Init(ACP_RST_GPIO_Port, &GPIO_InitStruct);

  /*Configure GPIO pin : OTG_FS_OC_Pin */
  GPIO_InitStruct.Pin = OTG_FS_OC_Pin;
  GPIO_InitStruct.Mode = GPIO_MODE_EVT_RISING;
  GPIO_InitStruct.Pull = GPIO_NOPULL;
  HAL_GPIO_Init(OTG_FS_OC_GPIO_Port, &GPIO_InitStruct);

  /*Configure GPIO pins : R3_Pin R6_Pin */
  GPIO_InitStruct.Pin = R3_Pin|R6_Pin;
  GPIO_InitStruct.Mode = GPIO_MODE_AF_PP;
  GPIO_InitStruct.Pull = GPIO_NOPULL;
  GPIO_InitStruct.Speed = GPIO_SPEED_FREQ_LOW;
  GPIO_InitStruct.Alternate = GPIO_AF9_LTDC;
  HAL_GPIO_Init(GPIOB, &GPIO_InitStruct);

  /*Configure GPIO pin : BOOT1_Pin */
  GPIO_InitStruct.Pin = BOOT1_Pin;
  GPIO_InitStruct.Mode = GPIO_MODE_INPUT;
  GPIO_InitStruct.Pull = GPIO_NOPULL;
  HAL_GPIO_Init(BOOT1_GPIO_Port, &GPIO_InitStruct);

  /*Configure GPIO pins : A10_Pin A11_Pin BA0_Pin BA1_Pin
                           SDCLK_Pin SDNCAS_Pin */
  GPIO_InitStruct.Pin = A10_Pin|A11_Pin|BA0_Pin|BA1_Pin
                          |SDCLK_Pin|SDNCAS_Pin;
  GPIO_InitStruct.Mode = GPIO_MODE_AF_PP;
  GPIO_InitStruct.Pull = GPIO_NOPULL;
  GPIO_InitStruct.Speed = GPIO_SPEED_FREQ_VERY_HIGH;
  GPIO_InitStruct.Alternate = GPIO_AF12_FMC;
  HAL_GPIO_Init(GPIOG, &GPIO_InitStruct);

  /*Configure GPIO pins : D4_Pin D5_Pin D6_Pin D7_Pin
                           D8_Pin D9_Pin D10_Pin D11_Pin
                           D12_Pin NBL0_Pin NBL1_Pin */
  GPIO_InitStruct.Pin = D4_Pin|D5_Pin|D6_Pin|D7_Pin
                          |D8_Pin|D9_Pin|D10_Pin|D11_Pin
                          |D12_Pin|NBL0_Pin|NBL1_Pin;
  GPIO_InitStruct.Mode = GPIO_MODE_AF_PP;
  GPIO_InitStruct.Pull = GPIO_NOPULL;
  GPIO_InitStruct.Speed = GPIO_SPEED_FREQ_VERY_HIGH;
  GPIO_InitStruct.Alternate = GPIO_AF12_FMC;
  HAL_GPIO_Init(GPIOE, &GPIO_InitStruct);

  /*Configure GPIO pins : G4_Pin G5_Pin B6_Pin B7_Pin */
  GPIO_InitStruct.Pin = G4_Pin|G5_Pin|B6_Pin|B7_Pin;
  GPIO_InitStruct.Mode = GPIO_MODE_AF_PP;
  GPIO_InitStruct.Pull = GPIO_NOPULL;
  GPIO_InitStruct.Speed = GPIO_SPEED_FREQ_LOW;
  GPIO_InitStruct.Alternate = GPIO_AF14_LTDC;
  HAL_GPIO_Init(GPIOB, &GPIO_InitStruct);

  /*Configure GPIO pins : OTG_HS_ID_Pin OTG_HS_DM_Pin OTG_HS_DP_Pin */
  GPIO_InitStruct.Pin = OTG_HS_ID_Pin|OTG_HS_DM_Pin|OTG_HS_DP_Pin;
  GPIO_InitStruct.Mode = GPIO_MODE_AF_PP;
  GPIO_InitStruct.Pull = GPIO_NOPULL;
  GPIO_InitStruct.Speed = GPIO_SPEED_FREQ_LOW;
  GPIO_InitStruct.Alternate = GPIO_AF12_OTG_HS_FS;
  HAL_GPIO_Init(GPIOB, &GPIO_InitStruct);

  /*Configure GPIO pin : VBUS_HS_Pin */
  GPIO_InitStruct.Pin = VBUS_HS_Pin;
  GPIO_InitStruct.Mode = GPIO_MODE_INPUT;
  GPIO_InitStruct.Pull = GPIO_NOPULL;
  HAL_GPIO_Init(VBUS_HS_GPIO_Port, &GPIO_InitStruct);

  /*Configure GPIO pins : D13_Pin D14_Pin D15_Pin D0_Pin
                           D1_Pin D2_Pin D3_Pin */
  GPIO_InitStruct.Pin = D13_Pin|D14_Pin|D15_Pin|D0_Pin
                          |D1_Pin|D2_Pin|D3_Pin;
  GPIO_InitStruct.Mode = GPIO_MODE_AF_PP;
  GPIO_InitStruct.Pull = GPIO_NOPULL;
  GPIO_InitStruct.Speed = GPIO_SPEED_FREQ_VERY_HIGH;
  GPIO_InitStruct.Alternate = GPIO_AF12_FMC;
  HAL_GPIO_Init(GPIOD, &GPIO_InitStruct);

  /*Configure GPIO pin : TE_Pin */
  GPIO_InitStruct.Pin = TE_Pin;
  GPIO_InitStruct.Mode = GPIO_MODE_INPUT;
  GPIO_InitStruct.Pull = GPIO_NOPULL;
  HAL_GPIO_Init(TE_GPIO_Port, &GPIO_InitStruct);

  /*Configure GPIO pins : RDX_Pin WRX_DCX_Pin */
  GPIO_InitStruct.Pin = RDX_Pin|WRX_DCX_Pin;
  GPIO_InitStruct.Mode = GPIO_MODE_OUTPUT_PP;
  GPIO_InitStruct.Pull = GPIO_NOPULL;
  GPIO_InitStruct.Speed = GPIO_SPEED_FREQ_LOW;
  HAL_GPIO_Init(GPIOD, &GPIO_InitStruct);

  /*Configure GPIO pins : R7_Pin DOTCLK_Pin B3_Pin */
  GPIO_InitStruct.Pin = R7_Pin|DOTCLK_Pin|B3_Pin;
  GPIO_InitStruct.Mode = GPIO_MODE_AF_PP;
  GPIO_InitStruct.Pull = GPIO_NOPULL;
  GPIO_InitStruct.Speed = GPIO_SPEED_FREQ_LOW;
  GPIO_InitStruct.Alternate = GPIO_AF14_LTDC;
  HAL_GPIO_Init(GPIOG, &GPIO_InitStruct);

  /*Configure GPIO pins : HSYNC_Pin G6_Pin R2_Pin */
  GPIO_InitStruct.Pin = HSYNC_Pin|G6_Pin|R2_Pin;
  GPIO_InitStruct.Mode = GPIO_MODE_AF_PP;
  GPIO_InitStruct.Pull = GPIO_NOPULL;
  GPIO_InitStruct.Speed = GPIO_SPEED_FREQ_LOW;
  GPIO_InitStruct.Alternate = GPIO_AF14_LTDC;
  HAL_GPIO_Init(GPIOC, &GPIO_InitStruct);

  /*Configure GPIO pin : I2C3_SDA_Pin */
  GPIO_InitStruct.Pin = I2C3_SDA_Pin;
  GPIO_InitStruct.Mode = GPIO_MODE_AF_OD;
  GPIO_InitStruct.Pull = GPIO_NOPULL;
  GPIO_InitStruct.Speed = GPIO_SPEED_FREQ_LOW;
  GPIO_InitStruct.Alternate = GPIO_AF4_I2C3;
  HAL_GPIO_Init(I2C3_SDA_GPIO_Port, &GPIO_InitStruct);

  /*Configure GPIO pin : I2C3_SCL_Pin */
  GPIO_InitStruct.Pin = I2C3_SCL_Pin;
  GPIO_InitStruct.Mode = GPIO_MODE_AF_OD;
  GPIO_InitStruct.Pull = GPIO_NOPULL;
  GPIO_InitStruct.Speed = GPIO_SPEED_FREQ_LOW;
  GPIO_InitStruct.Alternate = GPIO_AF4_I2C3;
  HAL_GPIO_Init(I2C3_SCL_GPIO_Port, &GPIO_InitStruct);

  /*Configure GPIO pins : G7_Pin B2_Pin */
  GPIO_InitStruct.Pin = G7_Pin|B2_Pin;
  GPIO_InitStruct.Mode = GPIO_MODE_AF_PP;
  GPIO_InitStruct.Pull = GPIO_NOPULL;
  GPIO_InitStruct.Speed = GPIO_SPEED_FREQ_LOW;
  GPIO_InitStruct.Alternate = GPIO_AF14_LTDC;
  HAL_GPIO_Init(GPIOD, &GPIO_InitStruct);

  /*Configure GPIO pins : G3_Pin B4_Pin */
  GPIO_InitStruct.Pin = G3_Pin|B4_Pin;
  GPIO_InitStruct.Mode = GPIO_MODE_AF_PP;
  GPIO_InitStruct.Pull = GPIO_NOPULL;
  GPIO_InitStruct.Speed = GPIO_SPEED_FREQ_LOW;
  GPIO_InitStruct.Alternate = GPIO_AF9_LTDC;
  HAL_GPIO_Init(GPIOG, &GPIO_InitStruct);

  /*Configure GPIO pins : LD3_Pin LD4_Pin */
  GPIO_InitStruct.Pin = LD3_Pin|LD4_Pin;
  GPIO_InitStruct.Mode = GPIO_MODE_OUTPUT_PP;
  GPIO_InitStruct.Pull = GPIO_NOPULL;
  GPIO_InitStruct.Speed = GPIO_SPEED_FREQ_LOW;
  HAL_GPIO_Init(GPIOG, &GPIO_InitStruct);

  /*Configure GPIO pins : SDCKE1_Pin SDNE1_Pin */
  GPIO_InitStruct.Pin = SDCKE1_Pin|SDNE1_Pin;
  GPIO_InitStruct.Mode = GPIO_MODE_AF_PP;
  GPIO_InitStruct.Pull = GPIO_NOPULL;
  GPIO_InitStruct.Speed = GPIO_SPEED_FREQ_VERY_HIGH;
  GPIO_InitStruct.Alternate = GPIO_AF12_FMC;
  HAL_GPIO_Init(GPIOB, &GPIO_InitStruct);

}

/* USER CODE BEGIN 4 */
void HAL_UART_RxCpltCallback( UART_HandleTypeDef *huart )
{
  uint8_t dummy;
  /* check if Queue is full or not */
  if( xQueueIsQueueFullFromISR(q_data) != pdPASS )
  {
    /* Queue is not full, so enqueue the data in queue */
    xQueueSendFromISR( q_data, (void*)&uart_data, NULL );
  }
  else
  {
    /* if the received data is \n ? */
    if( uart_data == '\n' )
    {
      /* Make sure the last data byte of the queue is \n */
      xQueueReceiveFromISR(q_data, (void*)&dummy, NULL);    /* delete the last entry for making space for \n */
      xQueueSendFromISR( q_data, (void*)&uart_data, NULL );
    }
  }
  /* Send Notification to command handling task if the uart_data = \n */
  if( uart_data == '\n' )
  {
    xTaskNotifyFromISR( command_task_handle, 0, eNoAction, NULL);
  }
  /* Enable UART data byte reception again in IT mode */
  HAL_UART_Receive_IT(&huart1, &uart_data, 1);
}

void Menu_TaskHandler( void * parameter)
{
  uint32_t command_address;
  Command_s *s_cmd;
  int option;
  const char * msg_menu = "=======================\n"
                          "==========MENU=========\n"
                          "=======================\n"
                          "LED Effect    => 0     \n"
                          "Date and Time => 1     \n"
                          "Exit          => 2     \n"
                          "Enter your choice here:\n";
  while(1)
  {
    xQueueSend( q_print, &msg_menu, portMAX_DELAY );
    xTaskNotifyWait(0, 0, &command_address, portMAX_DELAY );
    s_cmd = (Command_s*)command_address;
    if( s_cmd->len == 1 )
    {
      option = s_cmd->payload[0] - 48;
      switch( option )
      {
        case 0:
          e_state = LED_EFFECT;
          xTaskNotify( led_task_handle, 0, eNoAction);
          break;
        case 1:
          e_state = RTC_MENU;
          xTaskNotify( rtc_task_handle, 0, eNoAction);
          break;
        case 2:
          /* implement exit */
          break;
        default:
          xQueueSend( q_print, &msg_invalid, portMAX_DELAY );
          continue;
      }
    }
    else
    {
      /* this is an invalid entry */
      xQueueSend( q_print, &msg_invalid, portMAX_DELAY );
      continue;
    }

    xTaskNotifyWait(0, 0, NULL, portMAX_DELAY);
  }
}

void Command_TaskHandler( void * parameter )
{
  BaseType_t status;
  Command_s s_command;
  while(1)
  {
    /* wait for notification for indefinite time*/
    status = xTaskNotifyWait(0, 0, NULL, portMAX_DELAY);
    if( status == pdTRUE )
    {
      /* this means that notification is reached, and hence called the process
      command function, which extracts the sent command from user */
      Command_Processor( &s_command );
    }
    /* process the user data stored in the queue */
    /* notify the command to do the relevant task */
  }
}

void Print_TaskHandler( void * parameter )
{
  uint32_t *msg;
  while(1)
  {
    xQueueReceive(q_print, &msg, portMAX_DELAY);
    HAL_UART_Transmit( &huart1, (uint8_t*)msg, strlen((char *)msg), HAL_MAX_DELAY );
  }
}

void LED_TaskHandler( void * parameter)
{
  uint32_t command_address;
  Command_s *s_cmd;
  const char * msg_led  = "=======================\n"
                          "========LED EFFECT=====\n"
                          "=======================\n"
                          "(none, e1, e2, e3)     \n"
                          "Enter your choice here:\n";
  while(1)
  {
    /* Wait for Notification */
    xTaskNotifyWait( 0, 0, NULL, portMAX_DELAY );

    /* Print Led Menu */
    xQueueSend( q_print, &msg_led, portMAX_DELAY);

    /* Wait for LED Commands (notify wait ) */
    xTaskNotifyWait(0, 0, &command_address, portMAX_DELAY );
    s_cmd = (Command_s*)command_address;

    if( s_cmd->len <= 4 )   /* none=4 and e1, e2, e3 are 2 */
    {
      if( !strcmp( (char*)s_cmd->payload, "none") )
      {
        Led_Effect(0);
      }
      else if( !strcmp( (char*)s_cmd->payload, "e1") )
      {
        Led_Effect(1);
      }
      else if( !strcmp( (char*)s_cmd->payload, "e2") )
      {
        Led_Effect(2);
      }
      else if( !strcmp( (char*)s_cmd->payload, "e3") )
      {
        Led_Effect(3);
      }
      else
      {
        /* Print Invalid Message */
        xQueueSend(q_print, &msg_invalid, portMAX_DELAY );
      }
    }
    else
    {
      /* Print Invalid Message */
      xQueueSend(q_print, &msg_invalid, portMAX_DELAY );
    }
    /* update the application state to menu state */
    e_state = MAIN_MENU;
    xTaskNotify(menu_task_handle, 0, eNoAction );
  }
}

void RTC_TaskHandler( void * parameter)
{
  #define HH_CONFIG       0u
  #define MM_CONFIG       1u
  #define SS_CONFIG       2u

  #define DATE_CONFIG     0u
  #define MONTH_CONFIG    1u
  #define YEAR_CONFIG     2u
  #define DOW_CONFIG      3u

  static uint8_t rtc_state = 0u;
  uint32_t command_address;
  Command_s *s_cmd;
  uint8_t rtc_sub_menu_option;
  RTC_TimeTypeDef time;
  RTC_DateTypeDef date;
  uint8_t temp = 0u;

  const char* msg1_rtc =  "=======================\n"
                          "==========RTC==========\n"
                          "=======================\n";

  const char* msg2_rtc  = "Configure Time   => 0  \n"
                          "Configure Date   => 1  \n"
                          "Enable Reporting => 2  \n"
                          "Exit             => 3  \n"
                          "Enter your choice ? :  \n";

  const char *msg_rtc_hh = "Enter hour(1-12):";
  const char *msg_rtc_mm = "Enter minutes(0-59):";
  const char *msg_rtc_ss = "Enter seconds(0-59):";

  const char *msg_rtc_dd  = "Enter date(1-31):";
  const char *msg_rtc_mo  = "Enter month(1-12):";
  const char *msg_rtc_dow = "Enter day(1-7 sun:1):";
  const char *msg_rtc_yr  = "Enter year(0-99):";

  const char *msg_conf = "Configuration successful\n";
  const char *msg_rtc_report = "Enable time & date reporting(y/n)?: ";

  while(1)
  {
    /* Wait till someone notifies */
    xTaskNotifyWait(0, 0, NULL, portMAX_DELAY);

    /* Print the Menu and Show Current Date and Time Information */
    xQueueSend( q_print, &msg1_rtc, portMAX_DELAY);
    RTC_ShowDateTime();
    xQueueSend( q_print, &msg2_rtc, portMAX_DELAY);

    while( e_state != MAIN_MENU )
    {
      /* wait for command notification */
      xTaskNotifyWait(0, 0, &command_address, portMAX_DELAY );
      s_cmd = (Command_s*)command_address;

      switch( e_state )
      {
        case RTC_MENU:
          /* Process the RTC Menu Command */
          if( s_cmd->len == 1 )
          {
            rtc_sub_menu_option = s_cmd->payload[0] - 48u;
            switch( rtc_sub_menu_option )
            {
              case 0:
                e_state = RTC_TIME_CONFIG;
                xQueueSend( q_print, &msg_rtc_hh, portMAX_DELAY);
                break;
              case 1:
                e_state = RTC_DATE_CONFIG;
                xQueueSend( q_print, &msg_rtc_dd, portMAX_DELAY);
                break;
              case 2:
                e_state = RTC_REPORT;
                xQueueSend( q_print, &msg_rtc_report, portMAX_DELAY);
                break;
              case 3:
                e_state = MAIN_MENU;
                break;
              default:
                e_state = MAIN_MENU;
                xQueueSend( q_print, &msg_invalid, portMAX_DELAY);
                break;
            }
          }
          else
          {
            e_state = MAIN_MENU;
            xQueueSend( q_print, &msg_invalid, portMAX_DELAY);
          }
          break;
        case RTC_TIME_CONFIG:
          /* Get Hour (hh), minute (mm) and seconds (ss) information and  configure the RTC */
          switch ( rtc_state )
          {
            case HH_CONFIG:
              temp = Convert_To_Number(s_cmd->payload, s_cmd->len );
              time.Hours = temp;
              rtc_state = MM_CONFIG;
              /* Request the user to enter minute information */
              xQueueSend( q_print, &msg_rtc_mm, portMAX_DELAY);
              break;
            case MM_CONFIG:
              temp = Convert_To_Number(s_cmd->payload, s_cmd->len );
              time.Minutes = temp;
              rtc_state = SS_CONFIG;
              /* Request the user to enter seconds information */
              xQueueSend( q_print, &msg_rtc_ss, portMAX_DELAY);
              break;
            case SS_CONFIG:
              temp = Convert_To_Number(s_cmd->payload, s_cmd->len );
              time.Seconds = temp;
              if( Validate_RTC_Information( &time, NULL) )
              {
                /* RTC Data entered is acceptable */
                RTC_ConfigureTime(&time);
                /* Send Configuration Successful message */
                xQueueSend( q_print, &msg_conf, portMAX_DELAY );
                /* Also display updated date and time information */
                RTC_ShowDateTime();
              }
              else
              {
                /* Entered data is invalid, send the invalid message to print */
                xQueueSend( q_print, &msg_invalid, portMAX_DELAY );
              }
              rtc_state = HH_CONFIG;
              /* Reset the state */
              e_state = MAIN_MENU;
              break;
          }
          break;
        case RTC_DATE_CONFIG:
          /* Get date (dd), month (mm), year (yy) and day of week and  configure the RTC */
          switch ( rtc_state )
          {
            case DATE_CONFIG:
              temp = Convert_To_Number(s_cmd->payload, s_cmd->len );
              date.Date = temp;
              rtc_state = MONTH_CONFIG;
              /* Request the user to enter month information */
              xQueueSend( q_print, &msg_rtc_mo, portMAX_DELAY);
              break;
            case MONTH_CONFIG:
              temp = Convert_To_Number(s_cmd->payload, s_cmd->len );
              date.Month = temp;
              rtc_state = YEAR_CONFIG;
              /* Request the user to enter year information */
              xQueueSend( q_print, &msg_rtc_yr, portMAX_DELAY);
              break;
            case YEAR_CONFIG:
              temp = Convert_To_Number(s_cmd->payload, s_cmd->len );
              date.Year = temp;
              rtc_state = DOW_CONFIG;
              /* Request the user to enter day of week information */
              xQueueSend( q_print, &msg_rtc_dow, portMAX_DELAY);
              break;
            case DOW_CONFIG:
              temp = Convert_To_Number(s_cmd->payload, s_cmd->len );
              date.WeekDay = temp;
              if( Validate_RTC_Information( NULL, &date) )
              {
                /* RTC Data entered is acceptable */
                RTC_ConfigureDate(&date);
                /* Send Configuration Successful message */
                xQueueSend( q_print, &msg_conf, portMAX_DELAY );
                /* Also display updated date and time information */
                RTC_ShowDateTime();
              }
              else
              {
                /* Entered data is invalid, send the invalid message to print */
                xQueueSend( q_print, &msg_invalid, portMAX_DELAY );
              }
              rtc_state = HH_CONFIG;
              /* Reset the state */
              e_state = MAIN_MENU;
              break;
          }
          break;
        case RTC_REPORT:
          /* Enable to disable the RTC Current Time reporting over UART,
          instructor has used ITM instead of UART, but on my board SB9 bridge is
          not connected hence I have to send it over UART */
          if( s_cmd->len == 1 )
          {
            if( s_cmd->payload[0] == 'y' )
            {
              /* If timer is not running, then start the timer */
              if( xTimerIsTimerActive(rtc_timer) == pdFALSE )
              {
                xTimerStart(rtc_timer, portMAX_DELAY);
              }
            }
            else if( s_cmd->payload[0] == 'n' )
            {
              /* If timer is running, then stop it */
              if( xTimerIsTimerActive(rtc_timer) == pdTRUE )
              {
                xTimerStop(rtc_timer, portMAX_DELAY);
              }
            }
            else
            {
              xQueueSend( q_print, &msg_invalid, portMAX_DELAY );
            }
          }
          e_state = MAIN_MENU;
          break;
      }
    }
    /* Notify the Main task */
    xTaskNotify( menu_task_handle, 0, eNoAction );
  }
}

static void Command_Processor( Command_s *s_cmd )
{
  Command_Extractor(s_cmd);

  switch( e_state )
  {
    case MAIN_MENU:
      /* Notify Menu Task with the Command */
      xTaskNotify(menu_task_handle, (uint32_t)s_cmd, eSetValueWithOverwrite );
      break;
    case LED_EFFECT:
      /* Notify Led Effect Task with the Command */
      xTaskNotify(led_task_handle, (uint32_t)s_cmd, eSetValueWithOverwrite );
      break;
    case RTC_MENU:
    case RTC_TIME_CONFIG:
    case RTC_DATE_CONFIG:
    case RTC_REPORT:
      /* Notify RTC Task with the Command */
      xTaskNotify(rtc_task_handle, (uint32_t)s_cmd, eSetValueWithOverwrite );
      break;
  }
}

static int8_t Command_Extractor( Command_s *s_cmd )
{
  uint8_t item;
  uint8_t i = 0u;
  BaseType_t status;

  status = uxQueueMessagesWaiting(q_data);
  if( !status )
  {
    /* Queue is empty i.e. no data is present, hence exit from here */
    return (-1);
  }

  do
  {
    status = xQueueReceive(q_data, &item, 0);
    if( status == pdTRUE )
    {
      s_cmd->payload[i] = item;
      i++;
    }
  } while ( item != '\n' );
  s_cmd->payload[i-1] = '\0';
  s_cmd->len = i-1;
  return 0;
}

static void Led_Effect( uint8_t option )
{
  /* stop any previous effects which means stopping all previous running timers*/
  for( uint8_t idx=0; idx<3; idx++ )
  {
    xTimerStop( led_effect_timer[idx], portMAX_DELAY );
  }
  /* Turn off both leds first */
  HAL_GPIO_WritePin(LD3_GPIO_Port, LD3_Pin, GPIO_PIN_RESET );
  HAL_GPIO_WritePin(LD4_GPIO_Port, LD4_Pin, GPIO_PIN_RESET );

  /* Select/Start the newly selected timer */
  if( option )
  {
    /* And Start the selected led effect --> timer to produce the effect */
    xTimerStart( led_effect_timer[option-1], portMAX_DELAY );
  }
}

static void Led_Effect_Callback( TimerHandle_t xTimer )
{
  uint32_t id = (uint32_t)pvTimerGetTimerID(xTimer);
  switch( id )
  {
    case 1:
      Led_Effect1();
      break;
    case 2:
      Led_Effect2();
      break;
    case 3:
      Led_Effect3();
      break;
  }
}

static void Led_Effect1( void )
{
  HAL_GPIO_TogglePin(LD3_GPIO_Port, LD3_Pin );
}

static void Led_Effect2( void )
{
  HAL_GPIO_TogglePin(LD4_GPIO_Port, LD4_Pin );
}

static void Led_Effect3( void )
{
  HAL_GPIO_TogglePin(LD3_GPIO_Port, LD3_Pin );
  HAL_GPIO_TogglePin(LD4_GPIO_Port, LD4_Pin );
}

static void RTC_ConfigureTime( RTC_TimeTypeDef *time )
{
  time->TimeFormat = RTC_HOURFORMAT12_AM;
  time->DayLightSaving = RTC_DAYLIGHTSAVING_NONE;
  time->StoreOperation = RTC_STOREOPERATION_RESET;

  HAL_RTC_SetTime(&hrtc, time, RTC_FORMAT_BIN);
}

static void RTC_ConfigureDate( RTC_DateTypeDef *date )
{
  HAL_RTC_SetDate(&hrtc, date, RTC_FORMAT_BIN);
}

static void RTC_ShowDateTime( void )
{
  static char show_time[40];
  static char show_date[40];
  static char *time = show_time;
  static char *date = show_date;
  RTC_DateTypeDef rtc_date;
  RTC_TimeTypeDef rtc_time;
  char *format;

  memset(&rtc_date, 0, sizeof(rtc_date) );
  memset(&rtc_time, 0, sizeof(rtc_time) );

  /* Get the RTC Current Time */
  HAL_RTC_GetTime(&hrtc, &rtc_time, RTC_FORMAT_BIN );
  /* Get the RTC Current Date */
  HAL_RTC_GetDate(&hrtc, &rtc_date, RTC_FORMAT_BIN );

  format = (rtc_time.TimeFormat == RTC_HOURFORMAT12_AM) ? "AM" : "PM";

  /* Display time format hh:mm:ss [AM/PM] */
  sprintf((char*)show_time,"%s:\t%02d:%02d:%02d [%s]","\nCurrent Time & Date",\
          rtc_time.Hours, rtc_time.Minutes, rtc_time.Seconds,format);
  xQueueSend(q_print,&time,portMAX_DELAY);

  /* Display date Format : date-month-year */
  sprintf((char*)show_date,"\t%02d-%02d-%2d\n",rtc_date.Month, rtc_date.Date, 2000 + rtc_date.Year);
  xQueueSend(q_print,&date,portMAX_DELAY);
}

static void RTC_ReportCallback( TimerHandle_t xRTC )
{
  /* Sending Data Over UART, instructor has used the ITM but in board SB9 bridge
  is not soldered and hence ITM doesn't work */
  RTC_ShowDateTime();
}

static uint8_t Validate_RTC_Information( RTC_TimeTypeDef *time, RTC_DateTypeDef *date )
{
  uint8_t status = 1;
  if( time )
  {
    if( (time->Hours > 12) || (time->Minutes > 59) || (time->Seconds > 59) )
    {
      status = 0;
    }
  }
  if( date )
  {
    if( (date->Date > 31) || (date->WeekDay > 7) || (date->Year > 99) || (date->Month > 12) )
    {
      status = 0;
    }
  }
  return status;
}

static uint8_t Convert_To_Number( uint8_t *data, uint8_t len )
{
  uint8_t value = 0u;
  if( len > 1 )
  {
    value = ((data[0]-48)*10u) + (data[1]-48);
  }
  else
  {
    value = data[0] - 48;
  }
  return value;
}
/* USER CODE END 4 */

void HAL_TIM_PeriodElapsedCallback(TIM_HandleTypeDef *htim)
{
  if (htim->Instance == TIM6) {
    HAL_IncTick();
  }
}

void Error_Handler(void)
{
  __disable_irq();
  while (1)
  {
  }
}
